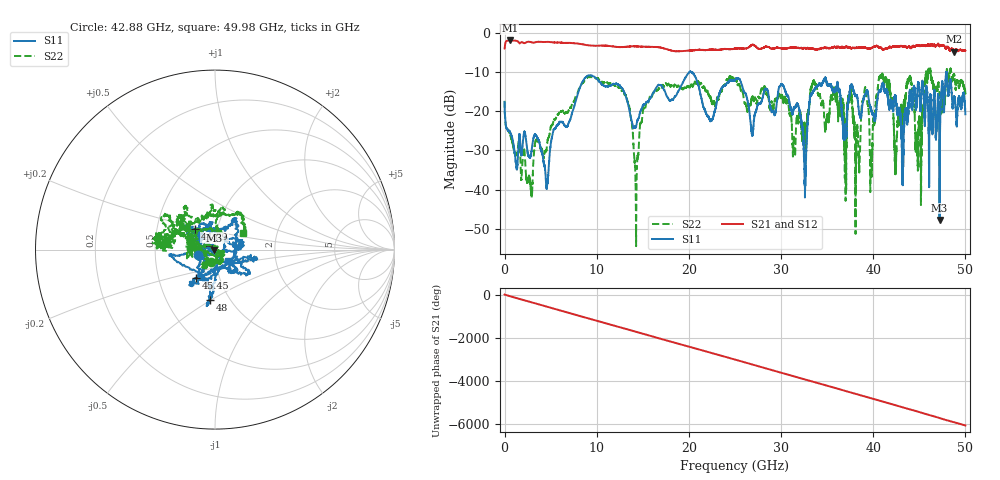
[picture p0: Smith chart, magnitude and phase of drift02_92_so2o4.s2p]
!Created with skrf (http://scikit-rf.org).
# Hz S RI R 50.0
!freq ReS11 ImS11 ReS21 ImS21 ReS12 ImS12 ReS22 ImS22
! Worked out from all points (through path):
!   10001 points, 300 kHz to 50 GHz, reference 50 ohm
!   highest |S21| = -2.00 dB at 555.3 MHz (marker M1); lowest = -4.8 dB at 48.77 GHz (marker M2)
!   group delay of S21, straight-line fit = 337 ps
!   lowest |S11| = -47.7 dB at 47.2 GHz (marker M3), VSWR 1.01, Z = 49.7 - j0.27 ohm
!   |S11| at or under -10 dB: start of sweep to 20.08 GHz; 20.24 GHz to 47.91 GHz (27.67 GHz wide, 81.2 % of centre); 47.92 GHz to end of sweep (the widest 3 of 5)
!   |S22| runs from -54.4 to -9.1 dB; largest |S21 - S12| = 0.033
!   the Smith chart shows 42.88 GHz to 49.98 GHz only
!   S11 on the Smith chart (normalised r, x): 42.88 GHz: 0.82, -0.05; 44.09 GHz: 0.78, +0.19; 45.45 GHz: 0.77, -0.25; 48 GHz: 0.81, -0.49; 49.98 GHz: 1.15, -0.15
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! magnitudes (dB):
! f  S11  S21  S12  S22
! 300 kHz  -17.7  -4.0  -4.0  -17.4
! 555.3 MHz  -25.1  -2.0  -2.0  -25.9
! 4.565 GHz  -39.7  -2.4  -2.4  -29.4
! 8.335 GHz  -13.0  -2.9  -2.9  -13.2
! 13 GHz  -15.3  -3.6  -3.6  -15.7
! 14.28 GHz  -23.8  -3.5  -3.5  -48.3
! 16.67 GHz  -13.3  -3.7  -3.7  -14.5
! 25 GHz  -12.1  -4.1  -4.1  -12.1
! 26.86 GHz  -25.9  -3.1  -3.1  -16.5
! 30.19 GHz  -13.4  -4.1  -4.1  -17.0
! 32.58 GHz  -38.1  -4.0  -4.0  -24.3
! 33.34 GHz  -15.6  -4.0  -4.0  -13.8
! 38.29 GHz  -16.8  -3.9  -3.8  -24.1
! 41.67 GHz  -18.2  -3.8  -3.9  -12.1
! 42.88 GHz  -20.0  -3.4  -3.4  -22.8
! 44.09 GHz  -16.0  -4.0  -4.0  -11.6
! 45.45 GHz  -14.5  -3.4  -3.4  -20.0
! 47.2 GHz  -47.7  -3.4  -3.4  -16.2
! 48 GHz  -11.1  -3.6  -3.6  -9.9
! 48.77 GHz  -16.9  -4.8  -4.8  -10.7
! 49.98 GHz  -20.1  -4.6  -4.5  -14.7
! 50 GHz  -20.8  -4.6  -4.6  -15.4
